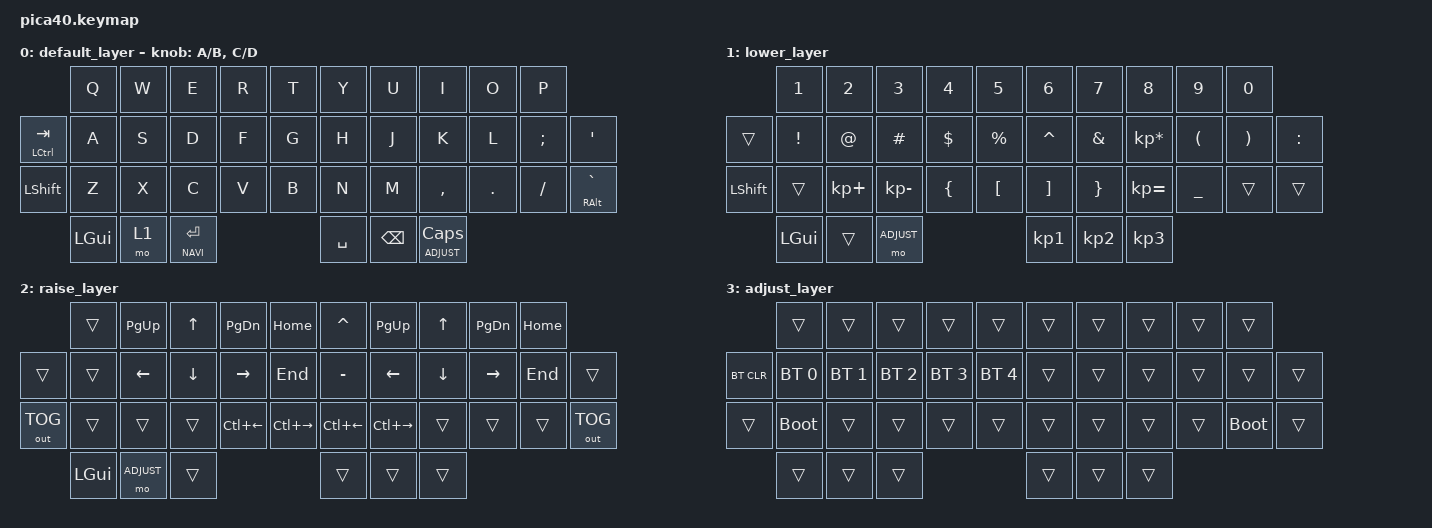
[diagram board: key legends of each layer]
#include <behaviors.dtsi>
#include <dt-bindings/zmk/keys.h>
#include <dt-bindings/zmk/bt.h>
#include <dt-bindings/zmk/outputs.h>

#define QWERTY 0
#define NUMB 1
#define NAVI 2
#define ADJUST 3

/ {

    behaviors {        
        hm: homerow_mods {
        compatible = "zmk,behavior-hold-tap";
        label = "HOMEROW_MODS";
        #binding-cells = <2>;
        tapping-term-ms = <150>;
        quick_tap_ms = <0>;
        flavor = "tap-preferred";
        bindings = <&kp>, <&kp>;
        };
    };

        keymap {
                compatible = "zmk,keymap";

                default_layer {
// .--------------------------------------------------------------.       .-----------------------------------------------------------.
// |   ESC        |    Q    |    W   |   E    |    R    |    T    |       |   Y   |    U    |    I    |    O    |     P    |    \     |
// |--------------+---------+--------+--------+---------+---------|       |-------+---------+---------+---------+----------+----------|
// |   CTRL/Tab   |    A    |    S   |   D    |    F    |    G    |       |   H   |    J    |    K    |    L    |     ;    |     '    |
// |--------------+---------+--------+--------+---------+---------|       |-------+---------+---------+---------+----------+----------|
// |   SHFT       |    Z    |    X   |   C    |    V    |    B    |       |   N   |    M    |    ,    |    .    |     /    | ` | ALT  |
// '---------------------------------+--------+---------+---------+       |-------+---------+---------+-------------------------------'
//                                   |  GUI   |   MO1   |   ENT   |       |  SPC  |   BKSP  |  CAPS   |
//                                   '--------+---------+---------'       '-------+---------+---------'
                        bindings = <
                  &kp Q       &kp W      &kp E     &kp R           &kp T   &kp Y  &kp U           &kp I        &kp O     &kp P
   &mt LCTRL TAB  &kp A       &kp S      &kp D     &kp F           &kp G   &kp H  &kp J           &kp K        &kp L     &kp SEMI   &kp SQT
   &kp LSHFT      &kp Z       &kp X      &kp C     &kp V           &kp B   &kp N  &kp M           &kp COMMA    &kp DOT   &kp FSLH   &mt RALT GRAVE
                  &kp LGUI    &mo 1      &lt NAVI RET              &kp SPACE       &kp BSPC    &lt ADJUST CAPSLOCK
                        >;
                        
                        sensor-bindings = <&inc_dec_kp A B &inc_dec_kp C D>;
                };
                
                lower_layer {
// .--------------------------------------------------------------.       .-----------------------------------------------------------.
// |   ESC        |    1    |    2   |   3    |    4    |    5    |       |   6   |    7    |    8    |    9    |     0    |    `     |
// |--------------+---------+--------+--------+---------+---------|       |-------+---------+---------+---------+----------+----------|
// |              |    !    |    @   |   #    |    $    |    %    |       |   ^   |    &    |    *    |    (    |     )    |     :    |
// |--------------+---------+--------+--------+---------+---------|       |-------+---------+---------+---------+----------+----------|
// |   SHFT       |         |    +   |   -    |    {    |    [    |       |   ]   |    }    |    =    |    _    |          |          |
// '---------------------------------+--------+---------+---------+       |-------+---------+---------+-------------------------------'
//                                   |  GUI   |         |   MO3   |       |   ,   |    .    |   ?     |
//                                   '--------+---------+---------'       '-------+---------+---------'
                        bindings = <
               &kp N1     &kp N2       &kp N3            &kp N4             &kp N5            &kp N6                   &kp N7                     &kp N8                 &kp N9                   &kp N0
   &trans     &kp EXCL     &kp AT            &kp HASH           &kp DLLR             &kp PRCNT         &kp CARET                &kp AMPS                   &kp KP_MULTIPLY        &kp LPAR                 &kp RPAR   &kp COLON
   &kp LSHFT  &trans       &kp KP_PLUS       &kp KP_MINUS       &kp LEFT_BRACE       &kp LEFT_BRACKET  &kp RIGHT_BRACKET        &kp RIGHT_BRACE            &kp KP_EQUAL           &kp UNDERSCORE           &trans     &trans
                                             &kp LGUI           &trans               &mo ADJUST        &kp KP_N1                &kp KP_N2                  &kp KP_N3
                        >;
                };
                
                raise_layer {
// .----------------------------------------------------------------.       .-----------------------------------------------------------------.
// |   CMD+SHIFT+4  |       |   PU   |   UP   |    PD    |   HOME   |       |  HOME   |    PU    |    UP   |   PD    |          | CMD+SHIFT+4 |
// |----------------+-------+--------+--------+----------+----------|       |---------+----------+---------+---------+----------+-------------|
// |                |       |  LEFT  |  DOWN  |   RIGHT  |   END    |       |  END    |   LEFT   |   DOWN  |  RIGHT  |          |             |
// |----------------+-------+--------+--------+----------+----------|       |---------+----------+---------+---------+----------+-------------|
// |     OUT_TOG    |       |        |        |CTRL+LEFT |CTRL+RIGHT|       |CTRL+LEFT|CTRL+RIGHT|         |         |          |   OUT_TOG   |
// '---------------------------------+--------+----------+----------+       |---------+----------+---------+----------------------------------'
//                                   |  GUI   |   MO3    |          |       |         |          |         |
//                                   '--------+----------+----------'       '---------+----------+---------'

                        bindings = <
                          &trans     &kp PAGE_UP        &kp UP_ARROW      &kp PAGE_DOWN       &kp HOME                &kp CARET            &kp PAGE_UP             &kp UP_ARROW       &kp PAGE_DOWN      &kp HOME
   &trans                 &trans     &kp LEFT_ARROW     &kp DOWN_ARROW    &kp RIGHT_ARROW     &kp END                 &kp MINUS            &kp LEFT_ARROW          &kp DOWN_ARROW     &kp RIGHT_ARROW    &kp END      &trans
   &out OUT_TOG           &trans     &trans             &trans            &kp LC(LEFT_ARROW)  &kp LC(RIGHT_ARROW)     &kp LC(LEFT_ARROW)   &kp LC(RIGHT_ARROW)     &trans             &trans             &trans       &out OUT_TOG
                                     &kp LGUI           &mo ADJUST        &trans              &trans   &trans   &trans
                        >;
                };

                adjust_layer {
// .--------------------------------------------------------.       .--------------------------------------------------------------.
// |         |        |        |        |         |         |       |  VOL+  |        |         |         |          |             |
// |---------+--------+--------+--------+---------+---------|       |--------+--------+---------+---------+----------+-------------|
// |  BTCLR  |  BT1   |  BT2   |  BT3   |  BT4    |  BT5    |       |  VOL-  |        |         |         |          |             |
// |---------+--------+--------+--------+---------+---------|       |--------+--------+---------+---------+----------+-------------|
// |         |        |        |        |         |         |       |        |        |         |         |          |             |
// '---------------------------+--------+---------+---------+       |--------+--------+---------+----------------------------------'
//                             |        |         |         |       |        |        |         |
//                             '--------+---------+---------'       '--------+--------+---------'

                        bindings = <
               &trans          &trans         &trans          &trans          &trans            &trans &trans &trans &trans &trans
   &bt BT_CLR  &bt BT_SEL 0    &bt BT_SEL 1   &bt BT_SEL 2    &bt BT_SEL 3    &bt BT_SEL 4      &trans &trans &trans &trans &trans &trans
   &trans      &bootloader     &trans         &trans          &trans          &trans            &trans &trans &trans &trans &bootloader &trans
                                   &trans &trans &trans   &trans &trans &trans
                        >;
                };
        };
};
